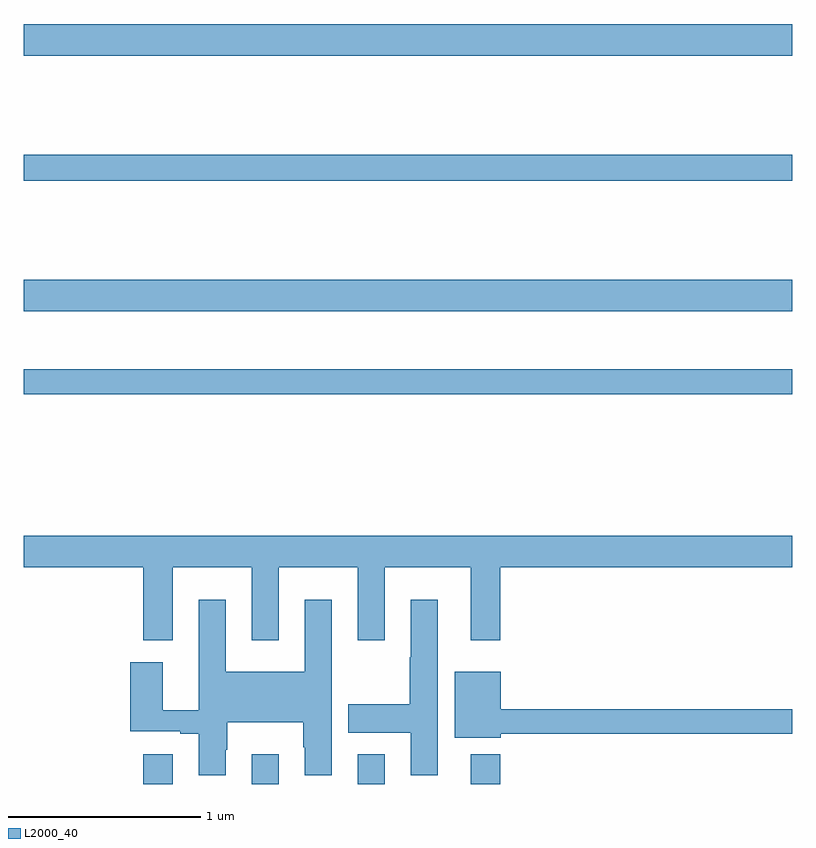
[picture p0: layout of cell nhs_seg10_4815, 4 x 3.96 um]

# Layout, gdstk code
import gdstk
lib = gdstk.Library(unit=1e-6, precision=1e-09)
def R(c, l, rs):  # rectangles x0, y0, x1, y1
    for r in rs: c.add(gdstk.rectangle(r[:2], r[2:], *l))
def P(c, l, *ps):  # polygons
    for p in ps: c.add(gdstk.Polygon(p, *l))
L2000_40 = (2000, 40)

nhs_seg10_4815 = lib.new_cell('nhs_seg10_4815')
R(nhs_seg10_4815, L2000_40, [(387.623,1320.5,387.775,1320.655), (388.187,1320.5,388.327,1320.655), (388.739,1320.5,388.879,1320.655), (389.327,1320.5,389.48,1320.655), (387,1322.53,391,1322.659), (387,1322.96,391,1323.124), (387,1323.64,391,1323.776), (387,1324.292,391,1324.456)])
P(nhs_seg10_4815, L2000_40, [(387.775,1321.628),(388.187,1321.628),(388.187,1321.248),(388.327,1321.248),(388.327,1321.628),(388.739,1321.628),(388.739,1321.248),(388.879,1321.248),(388.879,1321.628),(389.327,1321.628),(389.327,1321.248),(389.48,1321.248),(389.48,1321.628),(391,1321.628),(391,1321.792),(387,1321.792),(387,1321.628),(387.623,1321.628),(387.623,1321.248),(387.775,1321.248)],
  [(388.051,1320.677),(388.059,1320.677),(388.059,1320.821),(388.456,1320.821),(388.456,1320.692),(388.463,1320.692),(388.463,1320.546),(388.603,1320.546),(388.603,1321.459),(388.463,1321.459),(388.463,1321.084),(388.051,1321.084),(388.051,1321.459),(387.911,1321.459),(387.911,1320.883),(387.724,1320.883),(387.724,1321.135),(387.554,1321.135),(387.554,1320.774),(387.815,1320.774),(387.815,1320.762),(387.911,1320.762),(387.911,1320.546),(388.051,1320.546)],
  [(389.155,1321.459),(389.015,1321.459),(389.015,1321.16),(389.008,1321.16),(389.008,1320.915),(388.688,1320.915),(388.688,1320.767),(389.015,1320.767),(389.015,1320.546),(389.155,1320.546)],
  [(389.482,1320.762),(391,1320.762),(391,1320.89),(389.482,1320.89),(389.482,1321.084),(389.243,1321.084),(389.243,1320.74),(389.482,1320.74)])

lib.write_gds('nhs_seg10_4815.gds')
